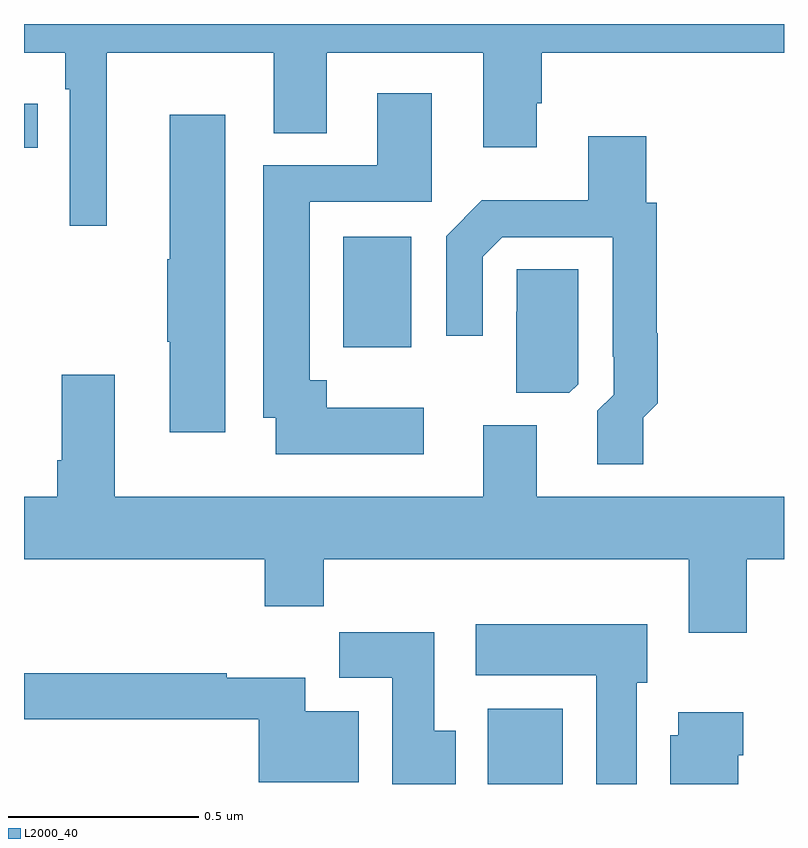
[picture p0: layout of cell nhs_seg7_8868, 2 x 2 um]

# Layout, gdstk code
import gdstk
lib = gdstk.Library(unit=1e-6, precision=1e-09)
def R(c, l, rs):  # rectangles x0, y0, x1, y1
    for r in rs: c.add(gdstk.rectangle(r[:2], r[2:], *l))
def P(c, l, *ps):  # polygons
    for p in ps: c.add(gdstk.Polygon(p, *l))
L2000_40 = (2000, 40)

nhs_seg7_8868 = lib.new_cell('nhs_seg7_8868')
R(nhs_seg7_8868, L2000_40, [(231.221,1024,231.418,1024.198), (230.84,1025.15,231.019,1025.44), (230,1025.674,230.036,1025.79)])
P(nhs_seg7_8868, L2000_40, [(230.218,1025.924),(230.657,1025.924),(230.657,1025.713),(230.797,1025.713),(230.797,1025.924),(231.209,1025.924),(231.209,1025.676),(231.349,1025.676),(231.349,1025.791),(231.362,1025.791),(231.362,1025.924),(232,1025.924),(232,1026),(230,1026),(230,1025.924),(230.108,1025.924),(230.108,1025.828),(230.121,1025.828),(230.121,1025.469),(230.218,1025.469)],
  [(231.052,1024.99),(230.797,1024.99),(230.797,1025.062),(230.752,1025.062),(230.752,1025.532),(231.073,1025.532),(231.073,1025.818),(230.93,1025.818),(230.93,1025.628),(230.63,1025.628),(230.63,1024.964),(230.663,1024.964),(230.663,1024.868),(231.052,1024.868)],
  [(230.53,1025.761),(230.384,1025.761),(230.384,1025.381),(230.377,1025.381),(230.377,1025.164),(230.384,1025.164),(230.384,1024.926),(230.53,1024.926)],
  [(231.629,1024.964),(231.668,1025.002),(231.668,1025.186),(231.665,1025.186),(231.665,1025.529),(231.638,1025.529),(231.638,1025.704),(231.485,1025.704),(231.485,1025.536),(231.205,1025.536),(231.111,1025.442),(231.111,1025.18),(231.207,1025.18),(231.207,1025.388),(231.258,1025.439),(231.549,1025.439),(231.549,1025.125),(231.552,1025.125),(231.552,1025.025),(231.509,1024.982),(231.509,1024.842),(231.629,1024.842)],
  [(231.459,1025.052),(231.459,1025.354),(231.297,1025.354),(231.297,1025.243),(231.296,1025.243),(231.296,1025.029),(231.435,1025.029)],
  [(231.902,1024.592),(232,1024.592),(232,1024.756),(231.349,1024.756),(231.349,1024.944),(231.209,1024.944),(231.209,1024.756),(230.239,1024.756),(230.239,1025.077),(230.099,1025.077),(230.099,1024.852),(230.087,1024.852),(230.087,1024.756),(230,1024.756),(230,1024.592),(230.633,1024.592),(230.633,1024.468),(230.789,1024.468),(230.789,1024.592),(231.749,1024.592),(231.749,1024.398),(231.902,1024.398)],
  [(231.613,1024.266),(231.64,1024.266),(231.64,1024.42),(231.189,1024.42),(231.189,1024.286),(231.506,1024.286),(231.506,1024),(231.613,1024)],
  [(231.136,1024.14),(231.079,1024.14),(231.079,1024.399),(230.83,1024.399),(230.83,1024.28),(230.969,1024.28),(230.969,1024),(231.136,1024)],
  [(230.881,1024.192),(230.74,1024.192),(230.74,1024.28),(230.534,1024.28),(230.534,1024.291),(230,1024.291),(230,1024.17),(230.618,1024.17),(230.618,1024.004),(230.881,1024.004)],
  [(231.88,1024.076),(231.893,1024.076),(231.893,1024.189),(231.722,1024.189),(231.722,1024.128),(231.701,1024.128),(231.701,1024),(231.88,1024)])

lib.write_gds('nhs_seg7_8868.gds')
